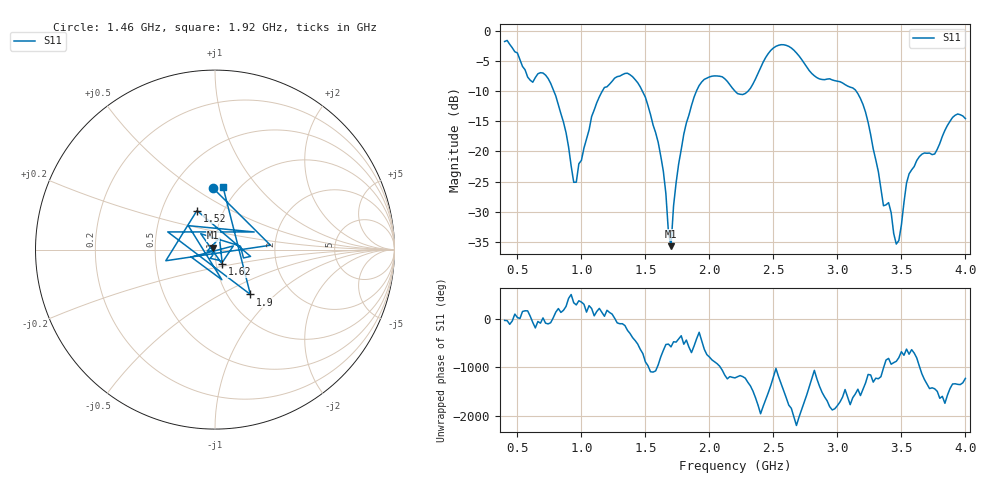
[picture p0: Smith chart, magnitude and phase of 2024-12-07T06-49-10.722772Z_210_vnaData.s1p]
!Created with skrf (http://scikit-rf.org).
# Hz S RI R 50.0
!freq ReS11 ImS11
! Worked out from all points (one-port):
!   181 points, 400 MHz to 4 GHz, reference 50 ohm
!   lowest |S11| = -35.7 dB at 1.7 GHz (marker M1), VSWR 1.03, Z = 48.7 + j0.985 ohm
!   |S11| at or under -10 dB: 784.3 MHz to 1.164 GHz (379.5 MHz wide, 39 % of centre); 1.476 GHz to 1.899 GHz (422.9 MHz wide, 25.1 % of centre); 3.146 GHz to end of sweep (the widest 3 of 4)
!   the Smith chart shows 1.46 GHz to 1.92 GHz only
!   S11 on the Smith chart (normalised r, x): 1.46 GHz: 0.78, +0.60; 1.52 GHz: 0.75, +0.35; 1.62 GHz: 1.07, -0.18; 1.9 GHz: 1.27, -0.71; 1.92 GHz: 0.85, +0.67
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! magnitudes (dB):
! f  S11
! 400 MHz  -1.8
! 600 MHz  -8.2
! 740 MHz  -7.9
! 860 MHz  -15.2
! 960 MHz  -25.1
! 1.12 GHz  -11.9
! 1.3 GHz  -7.5
! 1.46 GHz  -9.3
! 1.52 GHz  -12.4
! 1.62 GHz  -20.8
! 1.7 GHz  -35.7
! 1.72 GHz  -29.0
! 1.76 GHz  -22.0
! 1.9 GHz  -9.9
! 1.92 GHz  -9.1
! 2.2 GHz  -10.0
! 2.3 GHz  -10.1
! 2.5 GHz  -2.9
! 2.66 GHz  -3.2
! 3.1 GHz  -9.4
! 3.22 GHz  -13.5
! 3.36 GHz  -29.0
! 3.4 GHz  -28.5
! 3.46 GHz  -35.3
! 3.56 GHz  -23.7
! 3.76 GHz  -20.4
! 3.9 GHz  -14.4
! 4 GHz  -14.6
